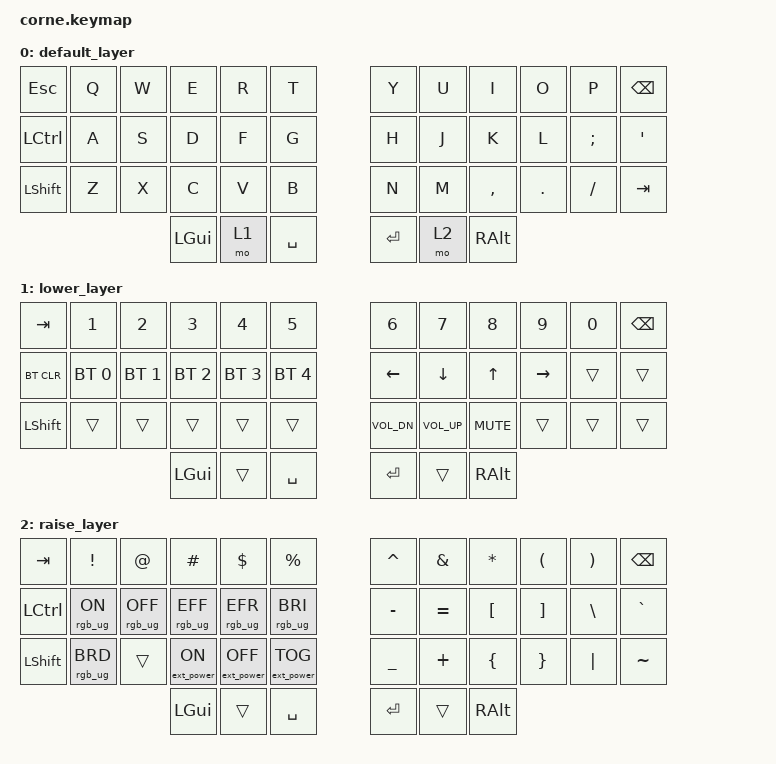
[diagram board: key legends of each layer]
/*
 * Copyright (c) 2020 The ZMK Contributors
 *
 * SPDX-License-Identifier: MIT
 */

#include <behaviors.dtsi>
#include <dt-bindings/zmk/bt.h>
#include <dt-bindings/zmk/ext_power.h>
#include <dt-bindings/zmk/keys.h>
#include <dt-bindings/zmk/rgb.h>

&led_strip { chain-length = <27>; };

/ {
    combos {
        compatible = "zmk,combos";

        Language {
            bindings = <&kp LC(SPACE)>;
            key-positions = <37 38>;
        };
    };

    keymap {
        compatible = "zmk,keymap";

        default_layer {
            // -----------------------------------------------------------------------------------------
            // |  TAB |  Q  |  W  |  E  |  R  |  T  |   |  Y  |  U   |  I  |  O  |  P  | BSPC |
            // | CTRL |  A  |  S  |  D  |  F  |  G  |   |  H  |  J   |  K  |  L  |  ;  |  '   |
            // | SHFT |  Z  |  X  |  C  |  V  |  B  |   |  N  |  M   |  ,  |  .  |  /  | ESC  |
            //                    | GUI | LWR | SPC |   | ENT | RSE  | ALT |

            bindings = <
&kp ESCAPE  &kp Q  &kp W  &kp E     &kp R  &kp T        &kp Y    &kp U  &kp I      &kp O    &kp P     &kp BSPC
&kp LCTRL   &kp A  &kp S  &kp D     &kp F  &kp G        &kp H    &kp J  &kp K      &kp L    &kp SEMI  &kp SQT
&kp LSHFT   &kp Z  &kp X  &kp C     &kp V  &kp B        &kp N    &kp M  &kp COMMA  &kp DOT  &kp FSLH  &kp TAB
                          &kp LGUI  &mo 1  &kp SPACE    &kp RET  &mo 2  &kp RALT
            >;
        };

        lower_layer {
            // -----------------------------------------------------------------------------------------
            // |  TAB |  1  |  2  |  3  |  4  |  5  |   |  6  |  7  |  8  |  9  |  0  | BSPC |
            // | BTCLR| BT1 | BT2 | BT3 | BT4 | BT5 |   | LFT | DWN |  UP | RGT |     |      |
            // | SHFT |     |     |     |     |     |   |     |     |     |     |     |      |
            //                    | GUI |     | SPC |   | ENT |     | ALT |

            bindings = <
&kp TAB     &kp N1        &kp N2        &kp N3        &kp N4        &kp N5          &kp N6        &kp N7        &kp N8      &kp N9     &kp N0  &kp BSPC
&bt BT_CLR  &bt BT_SEL 0  &bt BT_SEL 1  &bt BT_SEL 2  &bt BT_SEL 3  &bt BT_SEL 4    &kp LEFT      &kp DOWN      &kp UP      &kp RIGHT  &trans  &trans
&kp LSHFT   &trans        &trans        &trans        &trans        &trans          &kp C_VOL_DN  &kp C_VOL_UP  &kp C_MUTE  &trans     &trans  &trans
                                        &kp LGUI      &trans        &kp SPACE       &kp RET       &trans        &kp RALT
            >;
        };

        raise_layer {
            // -----------------------------------------------------------------------------------------
            // |  TAB |  !  |  @  |  #  |  $  |  %  |   |  ^  |  &  |  *  |  (  |  )  | BSPC |
            // | CTRL |     |     |     |     |     |   |  -  |  =  |  [  |  ]  |  \  |  `   |
            // | SHFT |     |     |     |     |     |   |  _  |  +  |  {  |  }  | "|" |  ~   |
            //                    | GUI |     | SPC |   | ENT |     | ALT |

            bindings = <
&kp TAB    &kp EXCL         &kp AT           &kp HASH          &kp DLLR           &kp PRCNT            &kp CARET  &kp AMPS   &kp ASTRK  &kp LPAR  &kp RPAR  &kp BSPC
&kp LCTRL  &rgb_ug RGB_ON   &rgb_ug RGB_OFF  &rgb_ug RGB_EFF   &rgb_ug RGB_EFR    &rgb_ug RGB_BRI      &kp MINUS  &kp EQUAL  &kp LBKT   &kp RBKT  &kp BSLH  &kp GRAVE
&kp LSHFT  &rgb_ug RGB_BRD  &trans           &ext_power EP_ON  &ext_power EP_OFF  &ext_power EP_TOG    &kp UNDER  &kp PLUS   &kp LBRC   &kp RBRC  &kp PIPE  &kp TILDE
                                             &kp LGUI          &trans             &kp SPACE            &kp RET    &trans     &kp RALT
            >;
        };
    };
};
